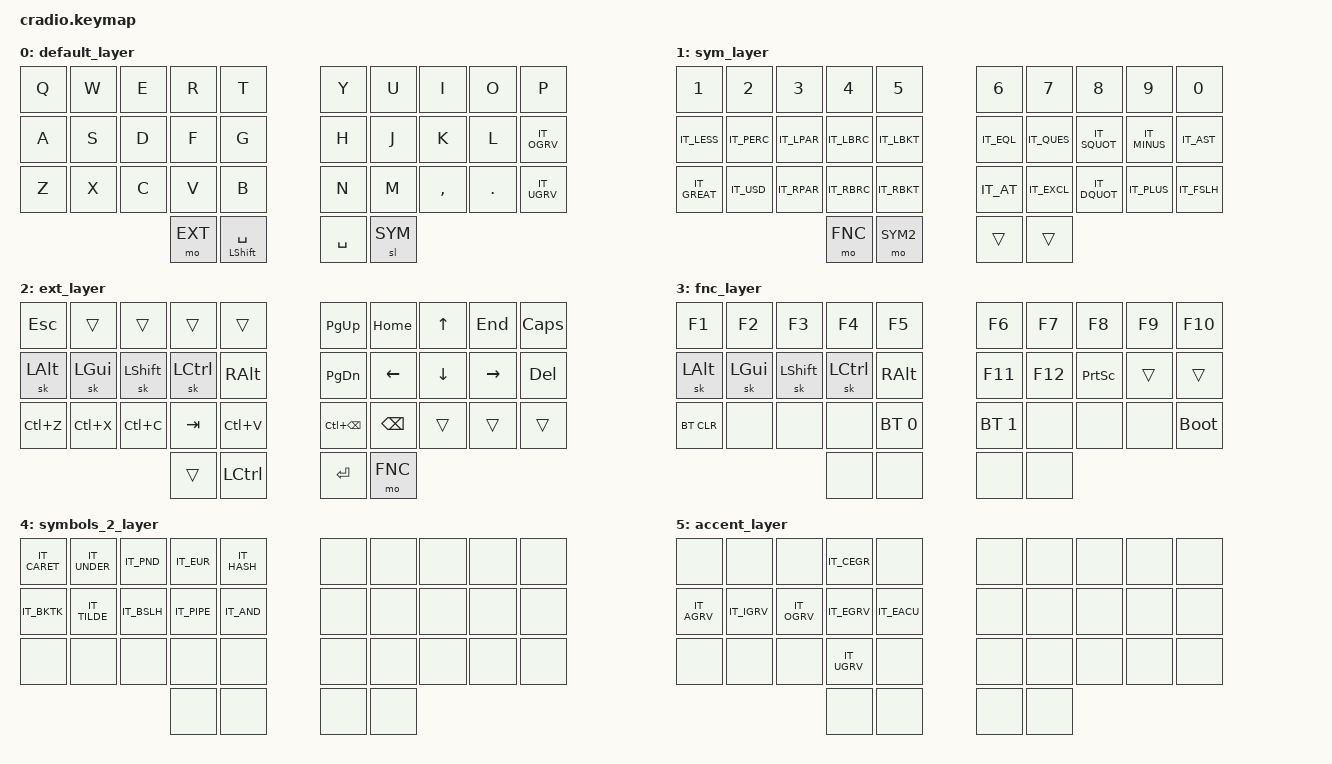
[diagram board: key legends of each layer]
/*
 * Copyright (c) 2020 The ZMK Contributors
 *
 * SPDX-License-Identifier: MIT
 */

#include <behaviors.dtsi>
#include <dt-bindings/zmk/keys.h>
#include <dt-bindings/zmk/bt.h>
#include "italian.keycodes"

// Layer definitions
    #define BASE 0
    #define SYM 1
    #define EXT 2
    #define FNC 3
    #define SYM2 4
    #define ACCENT 5
// -----------------

&mt {
   //  flavor = "tap-preferred";
   // tapping_term_ms = <200>;
};

&sk {
    ignore-modifiers;
};

/ {

    combos {
        compatible = "zmk,combos";
        combo_accent {
            timeout-ms = <300>;
            key-positions = <32 33>;
            bindings = <&mo ACCENT>;
        };
    };

    keymap {
            compatible = "zmk,keymap";

        // Base alpha layer
       		default_layer {
		bindings = <
		&kp Q &kp W &kp E &kp R &kp T           &kp Y &kp U  &kp I     &kp O   &kp P 
		&kp A &kp S &kp D &kp F &kp G           &kp H &kp J  &kp K     &kp L &kp IT_OGRV
		&kp Z &kp X &kp C &kp V &kp B           &kp N &kp M  &kp COMMA &kp DOT &kp IT_UGRV
             &mo EXT &mt LSHIFT SPACE           &kp SPACE &sl SYM
		>;
		};

        // Numbers and high frequency symbols
       		sym_layer {
		bindings = <
		&kp N1 &kp N2 &kp N3 &kp N4 &kp N5		                                    &kp N6 &kp N7 &kp N8 &kp N9 &kp N0
		&kp IT_LESS &kp IT_PERC &kp IT_LPAR &kp IT_LBRC &kp IT_LBKT  &kp IT_EQL &kp IT_QUES &kp IT_SQUOT &kp IT_MINUS &kp IT_AST
		&kp IT_GREAT &kp IT_USD &kp IT_RPAR &kp IT_RBRC &kp IT_RBKT 	&kp IT_AT &kp IT_EXCL &kp IT_DQUOT &kp IT_PLUS &kp IT_FSLH
					                                        &mo FNC  &mo SYM2       &trans &trans
		>;
		};

        // Main modifiers and arrow keys
		    ext_layer {
		bindings = <
		&kp ESC  &trans &trans  &trans  &trans    			        &kp PG_UP  &kp HOME &kp UP &kp END &kp CAPS
		&sk LALT &sk LGUI  &sk LSHIFT  &sk LCTRL  &kp RALT 			&kp PG_DN &kp LEFT  &kp DOWN  &kp RIGHT   &kp DEL
		&kp LC(Z)  &kp LC(X) &kp LC(C) &kp TAB   &kp LC(V)          &kp LC(BSPC) &kp BSPC &trans &trans  &trans
					                        &trans &kp LCTRL    &kp ENTER  &mo FNC 
		>;
		};

        // Function keys with modifiers
       		fnc_layer {
		bindings = <
		&kp F1 &kp F2 &kp F3 &kp F4 &kp F5                  &kp F6 &kp F7 &kp F8 &kp F9 &kp F10 
		&sk LALT &sk LGUI &sk LSHIFT &sk LCTRL &kp RALT     &kp F11 &kp F12  &kp PRINTSCREEN &trans &trans
		&bt BT_CLR &none &none &none &bt BT_SEL 0				    &bt BT_SEL 1 &none &none &none &bootloader 
          				           &none &none         &none &none  
		>;
		};

        // Low frequency symbols.
       		symbols_2_layer {
		bindings = <
		&kp IT_CARET &kp IT_UNDER &kp IT_PND &kp IT_EUR &kp IT_HASH              &none &none &none &none &none 
		&kp IT_BKTK &kp IT_TILDE &kp IT_BSLH &kp IT_PIPE &kp IT_AND         &none &none &none &none &none
		&none &none &none &none &none				                           &none &none &none &none &none
          				           &none &none                           &none &none 
		>;
		};

        // Used to type regional accents.
       		accent_layer {
		bindings = <
		&none &none &none &kp IT_CEGR &none                         &none &none &none &none &none 
		&kp IT_AGRV &kp IT_IGRV &kp IT_OGRV &kp IT_EGRV &kp IT_EACU &none &none &none &none &none
		&none &none &none &kp IT_UGRV &none                         &none &none &none &none &none
          				     &none &none                         &none &none 
		>;
		};
        
	};
};

